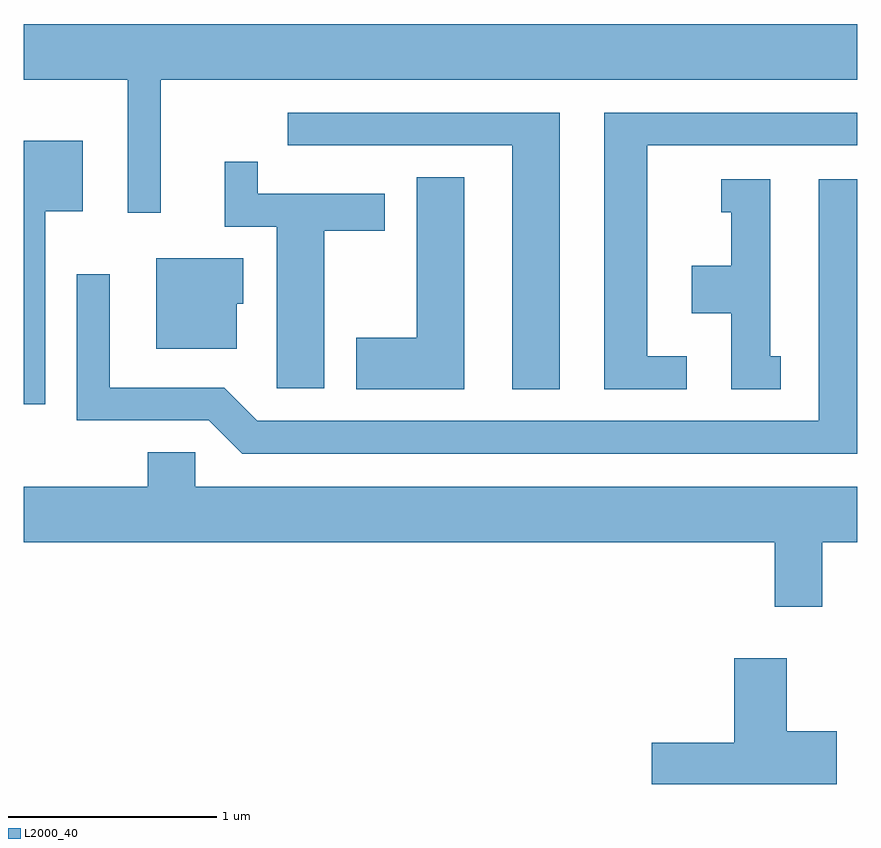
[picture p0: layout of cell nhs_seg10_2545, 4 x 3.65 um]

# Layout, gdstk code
import gdstk
lib = gdstk.Library(unit=1e-6, precision=1e-09)
def P(c, l, *ps):  # polygons
    for p in ps: c.add(gdstk.Polygon(p, *l))
L2000_40 = (2000, 40)

nhs_seg10_2545 = lib.new_cell('nhs_seg10_2545')
P(nhs_seg10_2545, L2000_40, [(260.269,2156.096),(263.611,2156.096),(263.611,2156.364),(259.611,2156.364),(259.611,2156.096),(260.111,2156.096),(260.111,2155.458),(260.269,2155.458)],
  [(262.793,2154.769),(262.604,2154.769),(262.604,2155.781),(263.611,2155.781),(263.611,2155.939),(262.396,2155.939),(262.396,2154.611),(262.793,2154.611)],
  [(262.184,2155.939),(260.878,2155.939),(260.878,2155.781),(261.956,2155.781),(261.956,2154.611),(262.184,2154.611)],
  [(259.714,2155.466),(259.894,2155.466),(259.894,2155.804),(259.611,2155.804),(259.611,2154.538),(259.714,2154.538)],
  [(261.054,2155.371),(261.344,2155.371),(261.344,2155.549),(260.734,2155.549),(260.734,2155.703),(260.576,2155.703),(260.576,2155.391),(260.826,2155.391),(260.826,2154.616),(261.054,2154.616)],
  [(261.724,2155.629),(261.496,2155.629),(261.496,2154.859),(261.206,2154.859),(261.206,2154.611),(261.724,2154.611)],
  [(263.243,2154.769),(263.194,2154.769),(263.194,2155.619),(262.958,2155.619),(262.958,2155.461),(263.006,2155.461),(263.006,2155.204),(262.816,2155.204),(262.816,2154.976),(263.006,2154.976),(263.006,2154.611),(263.243,2154.611)],
  [(263.611,2155.619),(263.426,2155.619),(263.426,2154.459),(260.731,2154.459),(260.572,2154.619),(260.024,2154.619),(260.024,2155.163),(259.866,2155.163),(259.866,2154.461),(260.498,2154.461),(260.659,2154.301),(263.611,2154.301)],
  [(260.634,2155.021),(260.664,2155.021),(260.664,2155.239),(260.246,2155.239),(260.246,2154.806),(260.634,2154.806)],
  [(263.444,2153.876),(263.611,2153.876),(263.611,2154.144),(260.434,2154.144),(260.434,2154.309),(260.206,2154.309),(260.206,2154.144),(259.611,2154.144),(259.611,2153.876),(263.216,2153.876),(263.216,2153.566),(263.444,2153.566)],
  [(263.514,2152.969),(263.274,2152.969),(263.274,2153.319),(263.021,2153.319),(263.021,2152.914),(262.626,2152.914),(262.626,2152.716),(263.514,2152.716)])

lib.write_gds('nhs_seg10_2545.gds')
